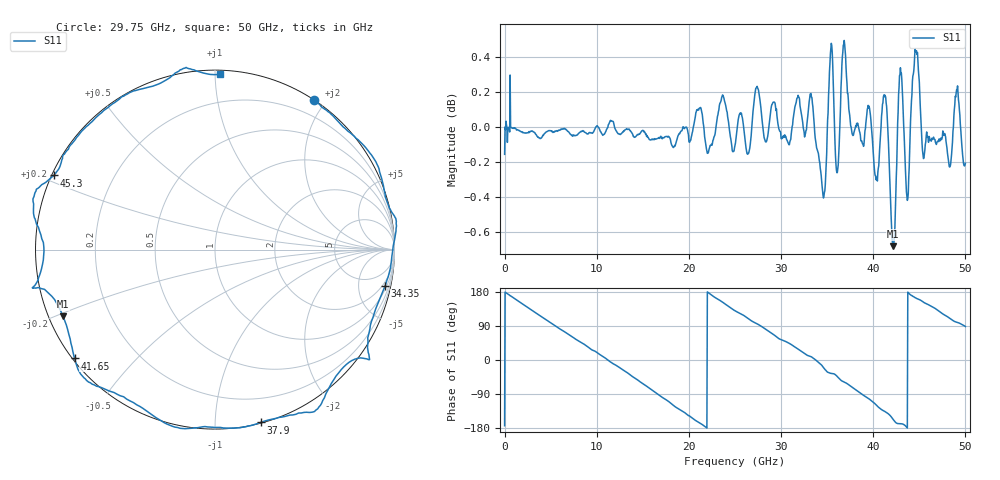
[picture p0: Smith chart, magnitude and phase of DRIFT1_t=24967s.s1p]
!Created with skrf (http://scikit-rf.org).
# Hz S RI R 50.0
!freq ReS11 ImS11
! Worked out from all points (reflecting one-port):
!   1001 points, 300 kHz to 50 GHz, reference 50 ohm
!   lowest |S11| = -0.7 dB at 42.15 GHz (marker M1), VSWR 25.46, Z = 2.05 - j10.4 ohm
!   phase of S11 starts at -174 deg and turns -818 deg over the sweep
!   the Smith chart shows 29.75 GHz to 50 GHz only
!   S11 on the Smith chart (normalised r, x): 29.75 GHz: 0.00, +1.86; 34.35 GHz: 1.39, -9.19; 37.9 GHz: 0.00, -1.30; 41.65 GHz: 0.01, -0.34; 45.3 GHz: 0.01, +0.22; 50 GHz: 0.02, +1.03
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300000  -0.976 -0.1106
1.450291e9  -0.9122 0.4051
3.25028e9  -0.5917 0.8016
6.250262e9  0.2022 0.9782
9.450243e9  0.8864 0.4544
1.250022e10  0.9321 -0.349
1.580021e10  0.2375 -0.9628
1.74002e10  -0.2227 -0.9684
1.875019e10  -0.5981 -0.7928
2.150017e10  -0.9935 -0.1525
2.350016e10  -0.9234 0.4283
2.500015e10  -0.6334 0.7582
2.740014e10  -0.0956 1.023
2.975012e10  0.551 0.8334
3.125011e10  0.7868 0.6196
3.31001e10  1.003 0.179
3.435009e10  0.9471 -0.2038
3.520009e10  0.8534 -0.5721
3.750008e10  0.3711 -0.9334
3.790007e10  0.2547 -0.9632
3.960006e10  -0.2381 -0.984
4.165005e10  -0.7825 -0.6064
4.215005e10  -0.8469 -0.3706
4.290004e10  -1.013 -0.2153
4.375004e10  -0.9537 0.0152
4.530003e10  -0.8983 0.4131
4.770001e10  -0.4886 0.8664
5e10  0.0254 0.9761
